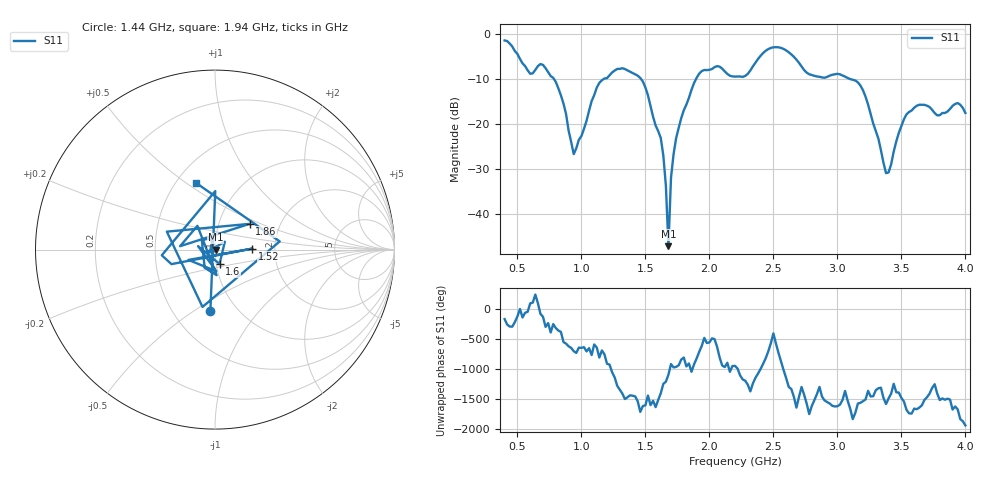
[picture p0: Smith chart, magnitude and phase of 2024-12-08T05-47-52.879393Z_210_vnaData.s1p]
!Created with skrf (http://scikit-rf.org).
# Hz S RI R 50.0
!freq ReS11 ImS11
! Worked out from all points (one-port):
!   181 points, 400 MHz to 4 GHz, reference 50 ohm
!   lowest |S11| = -47.1 dB at 1.68 GHz (marker M1), VSWR 1.01, Z = 50.4 - j0.087 ohm
!   |S11| at or under -10 dB: 786.3 MHz to 1.172 GHz (386.1 MHz wide, 39.4 % of centre); 1.467 GHz to 1.895 GHz (428.1 MHz wide, 25.5 % of centre); 3.102 GHz to end of sweep
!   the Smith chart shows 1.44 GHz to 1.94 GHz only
!   S11 on the Smith chart (normalised r, x): 1.44 GHz: 0.75, -0.59; 1.52 GHz: 1.53, +0.02; 1.6 GHz: 1.04, -0.17; 1.86 GHz: 1.40, +0.43; 1.94 GHz: 0.62, +0.55
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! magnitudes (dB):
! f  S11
! 400 MHz  -1.4
! 600 MHz  -8.8
! 700 MHz  -6.8
! 860 MHz  -15.4
! 940 MHz  -26.7
! 1.14 GHz  -10.8
! 1.3 GHz  -7.7
! 1.44 GHz  -9.2
! 1.52 GHz  -13.6
! 1.6 GHz  -21.5
! 1.64 GHz  -27.0
! 1.66 GHz  -33.7
! 1.68 GHz  -47.1
! 1.7 GHz  -31.9
! 1.76 GHz  -20.8
! 1.86 GHz  -12.4
! 1.94 GHz  -8.2
! 2.2 GHz  -9.4
! 2.48 GHz  -3.0
! 2.66 GHz  -5.0
! 2.78 GHz  -8.9
! 3.1 GHz  -10.0
! 3.22 GHz  -13.9
! 3.38 GHz  -30.9
! 3.56 GHz  -17.3
! 3.8 GHz  -18.0
! 3.94 GHz  -15.3
! 4 GHz  -17.5
